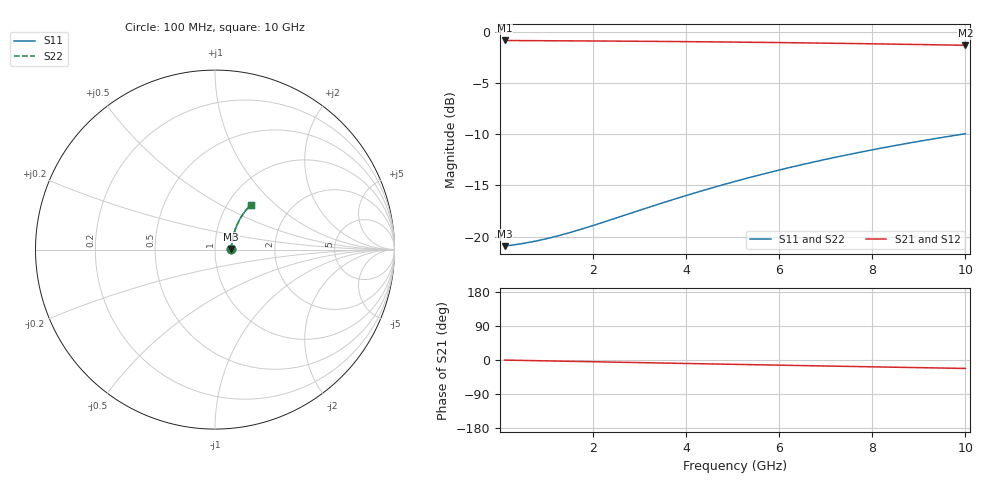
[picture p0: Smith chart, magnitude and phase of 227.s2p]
# Hz S RI R 50.00
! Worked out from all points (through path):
!   100 points, 100 MHz to 10 GHz, reference 50 ohm
!   highest |S21| = -0.82 dB at 100 MHz (marker M1); lowest = -1.3 dB at 10 GHz (marker M2)
!   group delay of S21, straight-line fit = 6.2 ps
!   lowest |S11| = -20.9 dB at 100 MHz (marker M3), VSWR 1.20, Z = 59.8 + j0.349 ohm
!   |S11| at or under -10 dB: start of sweep to 9.921 GHz
!   |S22| runs from -20.9 to -9.9 dB; largest |S21 - S12| = 0
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1e8  0.0896 0.00289  0.9104 -0.00367  0.9104 -0.00367  0.0896 0.00289
5e8  0.0914 0.0144  0.9086 -0.0183  0.9086 -0.0183  0.0914 0.0144
7e8  0.0921 0.0201  0.9078 -0.0256  0.9078 -0.0256  0.0921 0.0201
9e8  0.0929 0.0258  0.9071 -0.0329  0.9071 -0.0329  0.0929 0.0258
1.1e9  0.0936 0.0316  0.9063 -0.0401  0.9063 -0.0401  0.0936 0.0316
1.3e9  0.0944 0.0372  0.9055 -0.0474  0.9055 -0.0474  0.0944 0.0372
1.5e9  0.0953 0.0429  0.9046 -0.0546  0.9046 -0.0546  0.0953 0.0429
1.8e9  0.0968 0.0514  0.9031 -0.0654  0.9031 -0.0654  0.0968 0.0514
2.2e9  0.0989 0.0626  0.9009 -0.0797  0.9009 -0.0797  0.0989 0.0626
3.4e9  0.1073 0.0957  0.8923 -0.1221  0.8923 -0.1221  0.1073 0.0957
3.9e9  0.1117 0.1091  0.8878 -0.1395  0.8878 -0.1395  0.1117 0.1091
4.3e9  0.1155 0.1197  0.8839 -0.1532  0.8839 -0.1532  0.1155 0.1197
4.7e9  0.1196 0.1301  0.8797 -0.1667  0.8797 -0.1667  0.1196 0.1301
5.1e9  0.124 0.1404  0.8751 -0.1801  0.8751 -0.1801  0.124 0.1404
5.5e9  0.1287 0.1504  0.8703 -0.1933  0.8703 -0.1933  0.1287 0.1504
5.9e9  0.1337 0.1603  0.8651 -0.2063  0.8651 -0.2063  0.1337 0.1603
6.3e9  0.139 0.17  0.8597 -0.2191  0.8597 -0.2191  0.139 0.17
6.7e9  0.1446 0.1794  0.854 -0.2317  0.854 -0.2317  0.1446 0.1794
7.5e9  0.1564 0.1977  0.8418 -0.2562  0.8418 -0.2562  0.1564 0.1977
8.4e9  0.1708 0.2171  0.8269 -0.2827  0.8269 -0.2827  0.1708 0.2171
9.2e9  0.1845 0.2332  0.8127 -0.3051  0.8127 -0.3051  0.1845 0.2332
1e10  0.199 0.2484  0.7977 -0.3266  0.7977 -0.3266  0.199 0.2484
